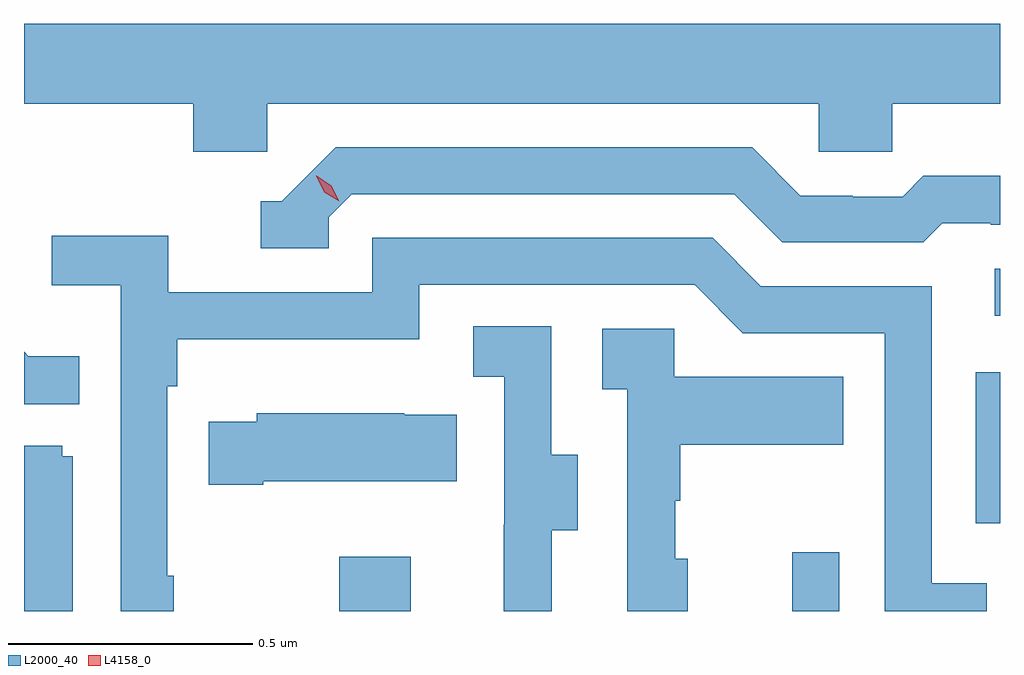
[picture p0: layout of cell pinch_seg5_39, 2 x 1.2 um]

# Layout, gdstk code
import gdstk
lib = gdstk.Library(unit=1e-6, precision=1e-09)
def R(c, l, rs):  # rectangles x0, y0, x1, y1
    for r in rs: c.add(gdstk.rectangle(r[:2], r[2:], *l))
def P(c, l, *ps):  # polygons
    for p in ps: c.add(gdstk.Polygon(p, *l))
L2000_40 = (2000, 40)
L4158_0 = (4158, 0)

pinch_seg5_39 = lib.new_cell('pinch_seg5_39')
R(pinch_seg5_39, L2000_40, [(1098.67,910.332,1098.817,910.444), (1099.598,910.332,1099.695,910.453), (1099.974,910.512,1100.024,910.822), (1100.013,910.938,1100.024,911.034)])
P(pinch_seg5_39, L2000_40, [(1098.024,911.372),(1098.371,911.372),(1098.371,911.274),(1098.522,911.274),(1098.522,911.372),(1099.653,911.372),(1099.653,911.274),(1099.803,911.274),(1099.803,911.372),(1100.024,911.372),(1100.024,911.536),(1098.024,911.536)],
  [(1098.648,911.139),(1098.696,911.187),(1099.479,911.187),(1099.578,911.088),(1099.867,911.088),(1099.906,911.127),(1100.005,911.127),(1100.005,911.124),(1100.024,911.124),(1100.024,911.224),(1099.867,911.224),(1099.825,911.181),(1099.722,911.181),(1099.722,911.184),(1099.615,911.184),(1099.516,911.283),(1098.663,911.283),(1098.552,911.172),(1098.509,911.172),(1098.509,911.076),(1098.648,911.076)],
  [(1098.331,910.405),(1098.318,910.405),(1098.318,910.793),(1098.338,910.793),(1098.338,910.889),(1098.834,910.889),(1098.834,911.001),(1099.398,911.001),(1099.497,910.902),(1099.788,910.902),(1099.788,910.332),(1099.997,910.332),(1099.997,910.389),(1099.884,910.389),(1099.884,910.998),(1099.534,910.998),(1099.435,911.097),(1098.738,911.097),(1098.738,910.986),(1098.32,910.986),(1098.32,911.102),(1098.081,911.102),(1098.081,911),(1098.222,911),(1098.222,910.332),(1098.331,910.332)],
  [(1099.105,910.498),(1099.159,910.498),(1099.159,910.653),(1099.104,910.653),(1099.104,910.916),(1098.945,910.916),(1098.945,910.813),(1099.008,910.813),(1099.008,910.509),(1099.007,910.509),(1099.007,910.332),(1099.105,910.332)],
  [(1099.384,910.44),(1099.359,910.44),(1099.359,910.559),(1099.369,910.559),(1099.369,910.673),(1099.703,910.673),(1099.703,910.813),(1099.356,910.813),(1099.356,910.911),(1099.209,910.911),(1099.209,910.787),(1099.26,910.787),(1099.26,910.332),(1099.384,910.332)],
  [(1098.137,910.855),(1098.033,910.855),(1098.024,910.864),(1098.024,910.756),(1098.137,910.756)],
  [(1098.514,910.598),(1098.911,910.598),(1098.911,910.735),(1098.803,910.735),(1098.803,910.738),(1098.501,910.738),(1098.501,910.72),(1098.403,910.72),(1098.403,910.591),(1098.514,910.591)],
  [(1098.124,910.65),(1098.102,910.65),(1098.102,910.671),(1098.024,910.671),(1098.024,910.332),(1098.124,910.332)])
P(pinch_seg5_39, L4158_0, [(1098.67,911.172),(1098.639,911.191),(1098.623,911.224),(1098.623,911.224),(1098.624,911.224),(1098.654,911.204),(1098.67,911.172),(1098.67,911.172)])

lib.write_gds('pinch_seg5_39.gds')
